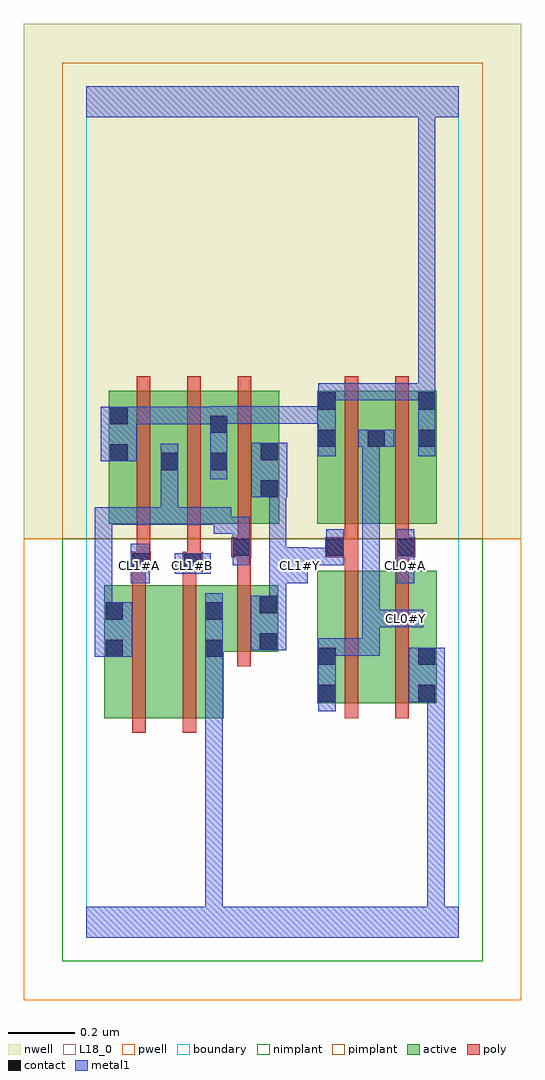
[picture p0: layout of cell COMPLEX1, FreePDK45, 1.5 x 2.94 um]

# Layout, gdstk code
import gdstk
lib = gdstk.Library(unit=1e-6, precision=1e-09)
def R(c, l, rs):  # rectangles x0, y0, x1, y1
    for r in rs: c.add(gdstk.rectangle(r[:2], r[2:], *l))
def A(c, l, x, y, w, h, nx, ny, dx, dy):  # array of equal rectangles
    R(c, l, [(x+i*dx, y+j*dy, x+i*dx+w, y+j*dy+h) for i in range(nx) for j in range(ny)])
active = (1, 0)
pwell = (2, 0)
nwell = (3, 0)
nimplant = (4, 0)
pimplant = (5, 0)
poly = (9, 0)
contact = (10, 0)
metal1 = (11, 0)
L18_0 = (18, 0)
boundary = (235, 0)

complex1 = lib.new_cell('COMPLEX1')
R(complex1, active, [(0.054,0.66,0.234,1.06), (0.234,0.66,0.414,1.06), (0.354,0.66,0.414,1.06), (0.694,0.704,0.754,1.104), (0.694,0.704,0.874,1.104), (0.874,0.704,1.054,1.104), (0.994,0.704,1.054,1.104), (0.054,0.756,0.114,1.06), (0.354,0.86,0.578,1.06), (0.518,0.86,0.578,1.06), (0.068,1.244,0.128,1.644), (0.068,1.244,0.28,1.644), (0.22,1.244,0.28,1.644), (0.22,1.244,0.428,1.644), (0.368,1.244,0.428,1.644), (0.368,1.244,0.58,1.644), (0.52,1.244,0.58,1.644), (0.694,1.244,0.754,1.644), (0.694,1.244,0.902,1.644), (0.842,1.244,0.902,1.644), (0.842,1.244,1.054,1.644), (0.994,1.244,1.054,1.644)])
R(complex1, pwell, [(-0.188,-0.188,1.308,1.2)])
R(complex1, nwell, [(-0.188,1.2,1.308,2.748)])
R(complex1, nimplant, [(-0.072,-0.072,1.192,1.2)])
R(complex1, pimplant, [(-0.072,1.2,1.192,2.632)])
A(complex1, poly, 0.152, 1.2, 0.04, 0.488, 3, 1, 0.152, 0)
R(complex1, poly, [(0.138,0.616,0.178,1.104), (0.29,0.616,0.33,1.104), (0.778,0.66,0.818,1.148), (0.93,0.66,0.97,1.148), (0.454,0.816,0.494,1.104), (0.138,1.064,0.178,1.14), (0.29,1.064,0.33,1.14), (0.454,1.064,0.494,1.184), (0.134,1.1,0.194,1.16), (0.29,1.1,0.35,1.16), (0.778,1.108,0.818,1.184), (0.93,1.108,0.97,1.184), (0.152,1.12,0.192,1.16), (0.152,1.12,0.192,1.16), (0.152,1.12,0.192,1.24), (0.304,1.12,0.344,1.16), (0.304,1.12,0.344,1.16), (0.304,1.12,0.344,1.24), (0.436,1.144,0.496,1.204), (0.454,1.144,0.494,1.184), (0.454,1.144,0.494,1.184), (0.718,1.144,0.818,1.204), (0.93,1.144,0.97,1.184), (0.93,1.144,0.97,1.184), (0.93,1.144,0.99,1.204), (0.456,1.164,0.496,1.24), (0.778,1.164,0.818,1.24), (0.778,1.164,0.818,1.204), (0.778,1.164,0.818,1.204), (0.93,1.164,0.97,1.24), (0.778,1.2,0.818,1.688), (0.93,1.2,0.97,1.688)])
R(complex1, contact, [(0.698,0.708,0.75,0.76), (0.998,0.708,1.05,0.76), (0.698,0.82,0.75,0.872), (0.998,0.82,1.05,0.872), (0.058,0.844,0.11,0.896), (0.358,0.844,0.41,0.896), (0.522,0.864,0.574,0.916), (0.058,0.956,0.11,1.008), (0.358,0.956,0.41,1.008), (0.522,0.976,0.574,1.028), (0.138,1.104,0.19,1.156), (0.294,1.104,0.346,1.156), (0.44,1.148,0.492,1.2), (0.722,1.148,0.774,1.2), (0.934,1.148,0.986,1.2), (0.524,1.324,0.576,1.376), (0.224,1.406,0.276,1.458), (0.372,1.406,0.424,1.458), (0.072,1.432,0.124,1.484), (0.524,1.436,0.576,1.488), (0.698,1.476,0.75,1.528), (0.846,1.476,0.898,1.528), (0.998,1.476,1.05,1.528), (0.372,1.518,0.424,1.57), (0.072,1.544,0.124,1.596), (0.698,1.588,0.75,1.64), (0.998,1.588,1.05,1.64)])
R(complex1, metal1, [(0,0,1.12,0.092), (0.358,0.04,0.41,0.092), (0.358,0.04,0.41,0.092), (0.358,0.04,0.41,0.092), (0.358,0.04,0.41,0.092), (0.358,0.04,0.41,0.092), (0.358,0.04,0.41,0.092), (0.358,0.04,0.41,0.092), (0.358,0.04,0.41,0.092), (0.358,0.04,0.41,0.092), (0.358,0.04,0.41,0.092), (0.358,0.04,0.41,0.092), (0.358,0.04,0.41,0.092), (0.358,0.04,0.41,0.868), (1.026,0.04,1.078,0.76), (0.698,0.68,0.75,0.9), (0.97,0.708,1.078,0.872), (1.026,0.708,1.078,0.76), (1.026,0.708,1.078,0.76), (1.026,0.708,1.078,0.76), (1.026,0.708,1.078,0.76), (1.026,0.708,1.078,0.76), (1.026,0.708,1.078,0.76), (1.026,0.708,1.078,0.76), (1.026,0.708,1.078,0.76), (1.026,0.708,1.078,0.76), (1.026,0.708,1.078,0.76), (1.026,0.708,1.078,0.76), (1.026,0.708,1.078,0.76), (0.358,0.816,0.41,1.036), (0.026,0.844,0.138,1.008), (0.698,0.848,0.776,0.9), (0.724,0.848,0.776,0.9), (0.724,0.848,0.882,0.9), (0.83,0.848,0.882,0.9), (0.83,0.848,0.882,0.986), (0.494,0.864,0.602,1.028), (0.83,0.934,0.882,1.528), (0.83,0.934,1.014,0.986), (0.026,0.956,0.078,1.008), (0.026,0.956,0.078,1.008), (0.026,0.956,0.078,1.294), (0.55,0.976,0.602,1.118), (0.134,1.066,0.19,1.184), (0.55,1.066,0.666,1.174), (0.934,1.066,0.986,1.228), (0.266,1.094,0.374,1.156), (0.44,1.12,0.492,1.266), (0.614,1.12,0.666,1.172), (0.614,1.12,0.666,1.172), (0.614,1.12,0.774,1.172), (0.722,1.12,0.774,1.228), (0.55,1.122,0.602,1.174), (0.55,1.122,0.602,1.174), (0.55,1.122,0.602,1.376), (0.384,1.214,0.492,1.266), (0.384,1.214,0.436,1.294), (0.026,1.242,0.078,1.294), (0.026,1.242,0.078,1.294), (0.026,1.242,0.078,1.294), (0.026,1.242,0.276,1.294), (0.224,1.242,0.276,1.294), (0.224,1.242,0.314,1.294), (0.224,1.242,0.276,1.43), (0.262,1.242,0.314,1.294), (0.262,1.242,0.436,1.294), (0.496,1.324,0.604,1.488), (0.224,1.378,0.276,1.486), (0.372,1.378,0.424,1.598), (0.044,1.432,0.152,1.596), (0.698,1.448,0.75,1.668), (0.998,1.448,1.05,1.668), (0.818,1.476,0.926,1.528), (0.83,1.476,0.882,1.528), (0.83,1.476,0.882,1.528), (0.1,1.544,0.152,1.596), (0.1,1.544,0.152,1.596), (0.1,1.544,0.262,1.596), (0.21,1.544,0.262,1.596), (0.21,1.544,0.262,1.596), (0.21,1.544,0.262,1.596), (0.21,1.544,0.424,1.596), (0.372,1.546,0.556,1.598), (0.504,1.546,0.556,1.598), (0.504,1.546,0.556,1.598), (0.504,1.546,0.556,1.598), (0.504,1.546,0.75,1.598), (0.698,1.616,0.876,1.668), (0.824,1.616,0.876,1.668), (0.824,1.616,0.876,1.668), (0.824,1.616,0.876,1.668), (0.824,1.616,1.05,1.668), (0.998,1.616,1.05,1.668), (0.998,1.616,1.05,1.668), (0.998,1.616,1.05,1.668), (0.998,1.616,1.05,1.668), (0.998,1.616,1.05,1.668), (0.998,1.616,1.05,1.668), (0.998,1.616,1.05,1.668), (0.998,1.616,1.05,1.668), (0.998,1.616,1.05,1.668), (0.998,1.616,1.05,1.668), (0.998,1.616,1.05,1.668), (0.998,1.616,1.05,1.668), (0.998,1.616,1.05,1.668), (0.998,1.616,1.05,1.668), (0.998,1.616,1.05,1.668), (0.998,1.616,1.05,1.668), (0.998,1.616,1.05,1.668), (0.998,1.616,1.05,1.668), (0.998,1.616,1.05,2.52), (0,2.468,1.12,2.56)])
A(complex1, L18_0, 0.294, 1.094, 0.052, 0.052, 3, 1, 0.32, 0)
R(complex1, L18_0, [(0,0,1.12,0.092), (0.358,0.04,0.41,0.092), (0.358,0.04,0.41,0.092), (0.358,0.04,0.41,0.092), (0.358,0.04,0.41,0.092), (0.358,0.04,0.41,0.092), (0.358,0.04,0.41,0.092), (0.358,0.04,0.41,0.092), (0.358,0.04,0.41,0.092), (0.358,0.04,0.41,0.092), (0.358,0.04,0.41,0.092), (0.358,0.04,0.41,0.092), (0.358,0.04,0.41,0.092), (0.358,0.04,0.41,0.868), (1.026,0.04,1.078,0.76), (0.698,0.68,0.75,0.9), (0.97,0.708,1.078,0.872), (1.026,0.708,1.078,0.76), (1.026,0.708,1.078,0.76), (1.026,0.708,1.078,0.76), (1.026,0.708,1.078,0.76), (1.026,0.708,1.078,0.76), (1.026,0.708,1.078,0.76), (1.026,0.708,1.078,0.76), (1.026,0.708,1.078,0.76), (1.026,0.708,1.078,0.76), (1.026,0.708,1.078,0.76), (1.026,0.708,1.078,0.76), (1.026,0.708,1.078,0.76), (0.358,0.816,0.41,1.036), (0.698,0.848,0.776,0.9), (0.724,0.848,0.776,0.9), (0.724,0.848,0.882,0.9), (0.83,0.848,0.882,0.9), (0.83,0.848,0.882,0.986), (0.494,0.864,0.602,1.028), (0.83,0.934,1.014,0.986), (0.83,0.934,0.882,1.528), (0.934,0.934,0.986,0.986), (0.55,0.976,0.602,1.118), (0.134,1.066,0.19,1.184), (0.55,1.066,0.666,1.174), (0.934,1.066,0.986,1.228), (0.134,1.094,0.186,1.146), (0.266,1.094,0.374,1.156), (0.614,1.12,0.666,1.172), (0.614,1.12,0.666,1.172), (0.614,1.12,0.774,1.172), (0.722,1.12,0.774,1.228), (0.55,1.122,0.602,1.174), (0.55,1.122,0.602,1.174), (0.55,1.122,0.602,1.376), (0.496,1.324,0.604,1.488), (0.372,1.378,0.424,1.598), (0.044,1.432,0.152,1.596), (0.698,1.448,0.75,1.668), (0.998,1.448,1.05,1.668), (0.818,1.476,0.926,1.528), (0.83,1.476,0.882,1.528), (0.83,1.476,0.882,1.528), (0.1,1.544,0.152,1.596), (0.1,1.544,0.152,1.596), (0.1,1.544,0.262,1.596), (0.21,1.544,0.262,1.596), (0.21,1.544,0.262,1.596), (0.21,1.544,0.262,1.596), (0.21,1.544,0.424,1.596), (0.372,1.546,0.556,1.598), (0.504,1.546,0.556,1.598), (0.504,1.546,0.556,1.598), (0.504,1.546,0.556,1.598), (0.504,1.546,0.75,1.598), (0.698,1.616,0.876,1.668), (0.824,1.616,0.876,1.668), (0.824,1.616,0.876,1.668), (0.824,1.616,0.876,1.668), (0.824,1.616,1.05,1.668), (0.998,1.616,1.05,1.668), (0.998,1.616,1.05,1.668), (0.998,1.616,1.05,1.668), (0.998,1.616,1.05,1.668), (0.998,1.616,1.05,1.668), (0.998,1.616,1.05,1.668), (0.998,1.616,1.05,1.668), (0.998,1.616,1.05,1.668), (0.998,1.616,1.05,1.668), (0.998,1.616,1.05,1.668), (0.998,1.616,1.05,1.668), (0.998,1.616,1.05,1.668), (0.998,1.616,1.05,1.668), (0.998,1.616,1.05,1.668), (0.998,1.616,1.05,1.668), (0.998,1.616,1.05,1.668), (0.998,1.616,1.05,1.668), (0.998,1.616,1.05,1.668), (0.998,1.616,1.05,2.52), (0,2.468,1.12,2.56)])
R(complex1, boundary, [(0,0,1.12,2.56)])
complex1.add(gdstk.Label('CL0#A', (0.96,1.12), layer=11, texttype=0))
complex1.add(gdstk.Label('CL0#Y', (0.96,0.96), layer=11, texttype=0))
complex1.add(gdstk.Label('CL1#A', (0.16,1.12), layer=11, texttype=0))
complex1.add(gdstk.Label('CL1#B', (0.32,1.12), layer=11, texttype=0))
complex1.add(gdstk.Label('CL1#Y', (0.64,1.12), layer=11, texttype=0))

lib.write_gds('COMPLEX1.gds')
